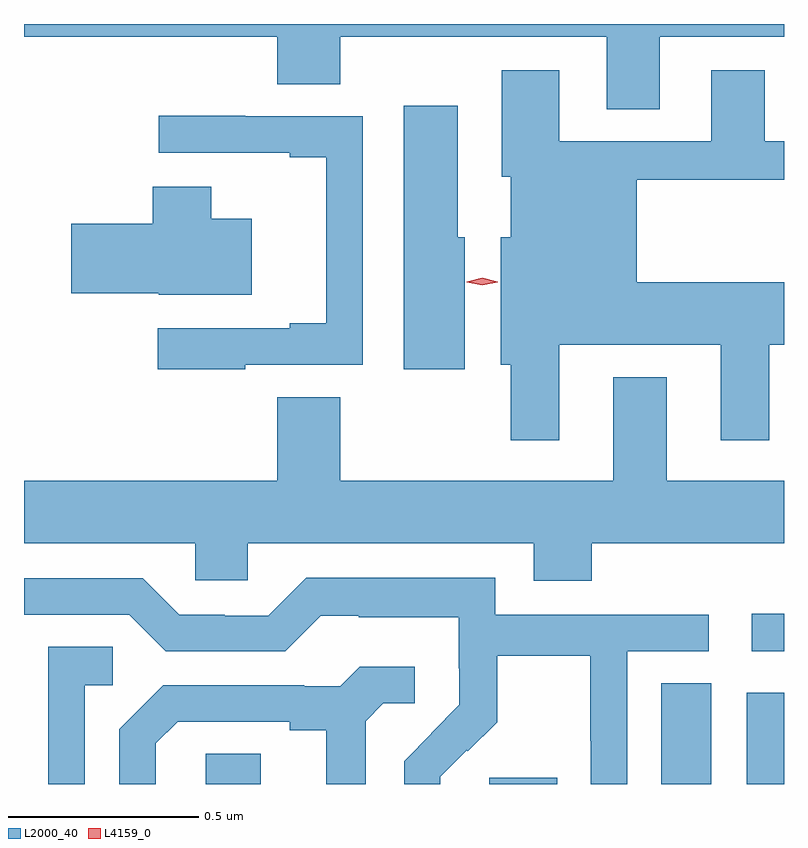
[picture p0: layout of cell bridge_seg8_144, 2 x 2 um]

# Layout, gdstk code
import gdstk
lib = gdstk.Library(unit=1e-6, precision=1e-09)
def R(c, l, rs):  # rectangles x0, y0, x1, y1
    for r in rs: c.add(gdstk.rectangle(r[:2], r[2:], *l))
def P(c, l, *ps):  # polygons
    for p in ps: c.add(gdstk.Polygon(p, *l))
L2000_40 = (2000, 40)
L4159_0 = (4159, 0)

bridge_seg8_144 = lib.new_cell('bridge_seg8_144')
R(bridge_seg8_144, L2000_40, [(423.672,1147.834,423.817,1147.913), (424.418,1147.834,424.597,1147.851), (424.871,1147.834,425.002,1148.099), (425.096,1147.834,425.194,1148.074), (425.109,1148.184,425.194,1148.282)])
P(bridge_seg8_144, L2000_40, [(424.867,1149.8),(425.194,1149.8),(425.194,1149.834),(423.194,1149.834),(423.194,1149.8),(423.86,1149.8),(423.86,1149.676),(424.026,1149.676),(424.026,1149.8),(424.727,1149.8),(424.727,1149.61),(424.867,1149.61)],
  [(424.603,1148.99),(425.027,1148.99),(425.027,1148.739),(425.155,1148.739),(425.155,1148.99),(425.194,1148.99),(425.194,1149.154),(424.807,1149.154),(424.807,1149.424),(425.194,1149.424),(425.194,1149.525),(425.143,1149.525),(425.143,1149.712),(425.003,1149.712),(425.003,1149.525),(424.603,1149.525),(424.603,1149.712),(424.451,1149.712),(424.451,1149.432),(424.475,1149.432),(424.475,1149.273),(424.448,1149.273),(424.448,1148.937),(424.475,1148.937),(424.475,1148.739),(424.603,1148.739)],
  [(424.354,1149.273),(424.336,1149.273),(424.336,1149.619),(424.193,1149.619),(424.193,1148.925),(424.354,1148.925)],
  [(423.776,1148.937),(424.086,1148.937),(424.086,1149.591),(423.776,1149.591),(423.776,1149.593),(423.549,1149.593),(423.549,1149.495),(423.893,1149.495),(423.893,1149.483),(423.989,1149.483),(423.989,1149.046),(423.893,1149.046),(423.893,1149.033),(423.546,1149.033),(423.546,1148.925),(423.776,1148.925)],
  [(423.793,1149.322),(423.687,1149.322),(423.687,1149.406),(423.533,1149.406),(423.533,1149.308),(423.318,1149.308),(423.318,1149.125),(423.549,1149.125),(423.549,1149.122),(423.793,1149.122)],
  [(424.688,1148.468),(425.194,1148.468),(425.194,1148.632),(424.885,1148.632),(424.885,1148.905),(424.745,1148.905),(424.745,1148.632),(424.026,1148.632),(424.026,1148.852),(423.86,1148.852),(423.86,1148.632),(423.194,1148.632),(423.194,1148.468),(423.645,1148.468),(423.645,1148.37),(423.783,1148.37),(423.783,1148.468),(424.535,1148.468),(424.535,1148.369),(424.688,1148.369)],
  [(424.289,1147.853),(424.359,1147.923),(424.362,1147.92),(424.439,1147.997),(424.439,1148.172),(424.684,1148.172),(424.684,1147.948),(424.686,1147.948),(424.686,1147.834),(424.782,1147.834),(424.782,1148.184),(424.996,1148.184),(424.996,1148.28),(424.434,1148.28),(424.434,1148.377),(423.937,1148.377),(423.837,1148.277),(423.722,1148.277),(423.722,1148.28),(423.603,1148.28),(423.507,1148.376),(423.194,1148.376),(423.194,1148.28),(423.471,1148.28),(423.567,1148.184),(423.882,1148.184),(423.975,1148.277),(424.075,1148.277),(424.075,1148.273),(424.338,1148.273),(424.338,1148.139),(424.34,1148.139),(424.34,1148.042),(424.266,1147.968),(424.267,1147.967),(424.194,1147.894),(424.194,1147.834),(424.289,1147.834)],
  [(423.354,1148.094),(423.427,1148.094),(423.427,1148.195),(423.258,1148.195),(423.258,1147.834),(423.354,1147.834)],
  [(423.541,1147.941),(423.598,1147.998),(423.893,1147.998),(423.893,1147.976),(423.989,1147.976),(423.989,1147.834),(424.093,1147.834),(424.093,1147.999),(424.14,1148.046),(424.222,1148.046),(424.222,1148.143),(424.078,1148.143),(424.026,1148.091),(423.932,1148.091),(423.932,1148.094),(423.56,1148.094),(423.444,1147.978),(423.444,1147.834),(423.541,1147.834)])
P(bridge_seg8_144, L4159_0, [(424.4,1149.146),(424.359,1149.155),(424.359,1149.156),(424.359,1149.156),(424.4,1149.166),(424.441,1149.156),(424.441,1149.156),(424.441,1149.155)])

lib.write_gds('bridge_seg8_144.gds')
